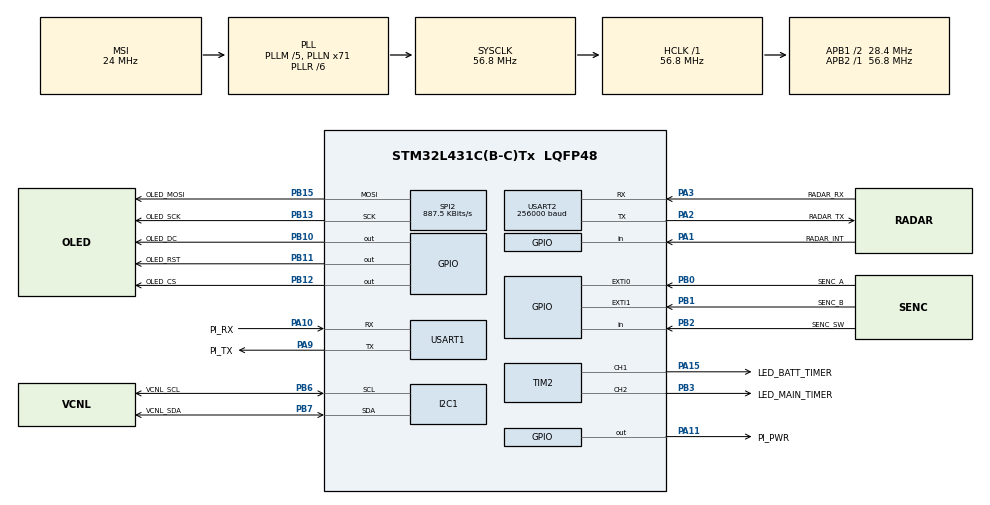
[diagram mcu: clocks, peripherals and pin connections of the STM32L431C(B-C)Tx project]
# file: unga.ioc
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Dma.Request0=TIM2_CH1
Dma.Request1=USART1_RX
Dma.Request2=TIM2_CH2/CH4
Dma.TIM2_CH1.0.Direction=DMA_MEMORY_TO_PERIPH
Dma.TIM2_CH1.0.Instance=DMA1_Channel5
Dma.TIM2_CH1.0.MemDataAlignment=DMA_MDATAALIGN_WORD
Dma.TIM2_CH1.0.MemInc=DMA_MINC_ENABLE
Dma.TIM2_CH1.0.Mode=DMA_CIRCULAR
Dma.TIM2_CH1.0.PeriphDataAlignment=DMA_PDATAALIGN_WORD
Dma.TIM2_CH1.0.PeriphInc=DMA_PINC_DISABLE
Dma.TIM2_CH1.0.Priority=DMA_PRIORITY_HIGH
Dma.TIM2_CH2/CH4.2.Direction=DMA_MEMORY_TO_PERIPH
Dma.TIM2_CH2/CH4.2.Instance=DMA1_Channel7
Dma.TIM2_CH2/CH4.2.MemDataAlignment=DMA_MDATAALIGN_WORD
Dma.TIM2_CH2/CH4.2.MemInc=DMA_MINC_ENABLE
Dma.TIM2_CH2/CH4.2.Mode=DMA_CIRCULAR
Dma.TIM2_CH2/CH4.2.PeriphDataAlignment=DMA_PDATAALIGN_WORD
Dma.TIM2_CH2/CH4.2.PeriphInc=DMA_PINC_DISABLE
Dma.TIM2_CH2/CH4.2.Priority=DMA_PRIORITY_HIGH
Dma.USART1_RX.1.Direction=DMA_PERIPH_TO_MEMORY
Dma.USART1_RX.1.Instance=DMA2_Channel7
Dma.USART1_RX.1.MemDataAlignment=DMA_MDATAALIGN_BYTE
Dma.USART1_RX.1.MemInc=DMA_MINC_ENABLE
Dma.USART1_RX.1.Mode=DMA_CIRCULAR
Dma.USART1_RX.1.PeriphDataAlignment=DMA_PDATAALIGN_BYTE
Dma.USART1_RX.1.PeriphInc=DMA_PINC_DISABLE
Dma.USART1_RX.1.Priority=DMA_PRIORITY_MEDIUM
I2C1.Timing=0x00906E9F
Mcu.Family=STM32L4
Mcu.Name=STM32L431C(B-C)Tx
Mcu.Package=LQFP48
NVIC.DMA1_Channel5_IRQn=true\:0\:0\:false\:false\:true\:false\:true\:true
NVIC.DMA1_Channel7_IRQn=true\:0\:0\:false\:false\:true\:false\:true\:true
NVIC.DMA2_Channel7_IRQn=true\:0\:0\:false\:false\:true\:false\:true\:true
NVIC.EXTI0_IRQn=true\:0\:0\:false\:false\:true\:true\:true\:true
NVIC.EXTI1_IRQn=true\:0\:0\:false\:false\:true\:true\:true\:true
NVIC.PriorityGroup=NVIC_PRIORITYGROUP_4
NVIC.TIM2_IRQn=true\:0\:0\:false\:false\:true\:true\:true\:true
NVIC.USART1_IRQn=true\:0\:0\:false\:false\:true\:true\:true\:true
PA1.GPIO_Label=RADAR_INT
PA1.Signal=GPIO_Input
PA10.GPIO_Label=PI_RX
PA10.Mode=Asynchronous
PA10.Signal=USART1_RX
PA11.GPIO_Label=PI_PWR
PA11.GPIO_ModeDefaultOutputPP=GPIO_MODE_OUTPUT_OD
PA11.GPIO_PuPd=GPIO_NOPULL
PA11.Signal=GPIO_Output
PA15\ (JTDI).GPIO_Label=LED_BATT_TIMER
PA15\ (JTDI).GPIO_Speed=GPIO_SPEED_FREQ_VERY_HIGH
PA15\ (JTDI).Signal=S_TIM2_CH1
PA2.GPIO_Label=RADAR_TX
PA2.Mode=Asynchronous
PA2.Signal=USART2_TX
PA3.GPIO_Label=RADAR_RX
PA3.Mode=Asynchronous
PA3.Signal=USART2_RX
PA9.GPIO_Label=PI_TX
PA9.Mode=Asynchronous
PA9.Signal=USART1_TX
PB0.GPIO_Label=SENC_A
PB0.GPIO_ModeDefaultEXTI=GPIO_MODE_IT_RISING_FALLING
PB0.Signal=GPXTI0
PB1.GPIO_Label=SENC_B
PB1.GPIO_ModeDefaultEXTI=GPIO_MODE_IT_RISING_FALLING
PB1.Signal=GPXTI1
PB10.GPIO_Label=OLED_DC
PB10.Signal=GPIO_Output
PB11.GPIO_Label=OLED_RST
PB11.Signal=GPIO_Output
PB12.GPIO_Label=OLED_CS
PB12.Signal=GPIO_Output
PB13.GPIO_Label=OLED_SCK
PB13.Mode=TX_Only_Simplex_Unidirect_Master
PB13.Signal=SPI2_SCK
PB15.GPIO_Label=OLED_MOSI
PB15.Mode=TX_Only_Simplex_Unidirect_Master
PB15.Signal=SPI2_MOSI
PB2.GPIO_Label=SENC_SW
PB2.Signal=GPIO_Input
PB3\ (JTDO-TRACESWO).GPIO_Label=LED_MAIN_TIMER
PB3\ (JTDO-TRACESWO).GPIO_Speed=GPIO_SPEED_FREQ_VERY_HIGH
PB3\ (JTDO-TRACESWO).Signal=S_TIM2_CH2
PB6.GPIO_Label=VCNL_SCL
PB6.Mode=I2C
PB6.Signal=I2C1_SCL
PB7.GPIO_Label=VCNL_SDA
PB7.Mode=I2C
PB7.Signal=I2C1_SDA
ProjectManager.HeapSize=0x200
ProjectManager.StackSize=0x400
ProjectManager.TargetToolchain=STM32CubeIDE
RCC.ADCFreq_Value=48000000
RCC.AHBFreq_Value=56800000
RCC.APB1CLKDivider=RCC_HCLK_DIV2
RCC.APB1Freq_Value=28400000
RCC.APB1TimFreq_Value=56800000
RCC.APB2Freq_Value=56800000
RCC.APB2TimFreq_Value=56800000
RCC.CortexFreq_Value=56800000
RCC.HCLKFreq_Value=56800000
RCC.HSE_VALUE=8000000
RCC.HSI48_VALUE=48000000
RCC.HSI_VALUE=16000000
RCC.LSE_VALUE=32768
RCC.MSIClockRange=RCC_MSIRANGE_9
RCC.MSI_VALUE=24000000
RCC.PLLM=5
RCC.PLLN=71
RCC.PLLR=RCC_PLLR_DIV6
RCC.PLLSAI1N=20
RCC.SYSCLKFreq_VALUE=56800000
RCC.SYSCLKSource=RCC_SYSCLKSOURCE_PLLCLK
RCC.VCOOutputFreq_Value=340800000
SH.S_TIM2_CH1.0=TIM2_CH1,PWM Generation1 CH1
SH.S_TIM2_CH2.0=TIM2_CH2,PWM Generation2 CH2
SPI2.BaudRatePrescaler=SPI_BAUDRATEPRESCALER_32
SPI2.CalculateBaudRate=887.5 KBits/s
SPI2.DataSize=SPI_DATASIZE_8BIT
SPI2.Direction=SPI_DIRECTION_2LINES
SPI2.Mode=SPI_MODE_MASTER
SPI2.VirtualType=VM_MASTER
TIM1.Period=1000
TIM2.Channel-PWM\ Generation1\ CH1=TIM_CHANNEL_1
TIM2.Channel-PWM\ Generation2\ CH2=TIM_CHANNEL_2
USART1.VirtualMode-Asynchronous=VM_ASYNC
USART2.BaudRate=256000
USART2.VirtualMode-Asynchronous=VM_ASYNC
VP_TIM1_VS_ClockSourceINT.Mode=Internal
VP_TIM2_VS_ClockSourceINT.Mode=Internal
board=custom

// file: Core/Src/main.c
/* USER CODE BEGIN Header */
/**
 ******************************************************************************
 * @file           : main.c
 * @brief          : Main program body
 ******************************************************************************
 * @attention
 *
 * Copyright (c) 2025 STMicroelectronics.
 * All rights reserved.
 *
 * This software is licensed under terms that can be found in the LICENSE file
 * in the root directory of this software component.
 * If no LICENSE file comes with this software, it is provided AS-IS.
 *
 ******************************************************************************
 */
/* USER CODE END Header */
#include "main.h"

/* USER CODE BEGIN Includes */

#include "ARGB.h"
#include "nsp.h"
#include "radar.h"
#include "sh1106.h"
#include "vcnl4040.h"
/* USER CODE END Includes */

I2C_HandleTypeDef hi2c1;

SPI_HandleTypeDef hspi2;

TIM_HandleTypeDef htim1;
TIM_HandleTypeDef htim2;
DMA_HandleTypeDef hdma_tim2_ch1;
DMA_HandleTypeDef hdma_tim2_ch2_ch4;

UART_HandleTypeDef huart1;
UART_HandleTypeDef huart2;
DMA_HandleTypeDef hdma_usart1_rx;

/* USER CODE BEGIN PV */
// uint8_t inbuffer[4];
int actually_light_stuff_up = 1;

/////////////////////////////////////////////////////////////////////////////////////

struct NSPData nsp_data;
struct RadarData radar_data;

/////////////////////////////////////////////////////////////////////////////////////

/* USER CODE END PV */

void SystemClock_Config(void);
static void MX_GPIO_Init(void);
static void MX_DMA_Init(void);
static void MX_TIM1_Init(void);
static void MX_TIM2_Init(void);
static void MX_USART1_UART_Init(void);
static void MX_USART2_UART_Init(void);
static void MX_I2C1_Init(void);
static void MX_SPI2_Init(void);
/* USER CODE BEGIN PFP */

struct FooBar {
  int x;
  int rgb;
};

/* USER CODE END PFP */

/* USER CODE BEGIN 0 */

void update(struct FooBar *fb) {
  fb->x += 1;
  if (fb->x > 255) {
    fb->x = 0;

    fb->rgb = (fb->rgb + 1) % 4;
  }
}

void draw(int x, struct FooBar *fb) {
  if (fb->rgb == 3) {
    if (x < LEDB_NUM_PIXELS)
      LEDB_SetWhite(x, fb->x);
    LEDM_SetWhite(x, fb->x);
  } else {
    if (x < LEDB_NUM_PIXELS)
      LEDB_SetRGB(x, fb->rgb == 0 ? fb->x : 0, fb->rgb == 1 ? fb->x : 0,
                  fb->rgb == 2 ? fb->x : 0);
    LEDM_SetRGB(x, fb->rgb == 0 ? fb->x : 0, fb->rgb == 1 ? fb->x : 0,
                fb->rgb == 2 ? fb->x : 0);
  }
}

void HAL_UARTEx_RxEventCallback(UART_HandleTypeDef *huart,
                                uint16_t cur_write_ptr) {

  if (huart == &huart1) {
    // size is num bytes that have been written into my buffer; caps out at
    // buffer size force a wrap to zero if we hit the edge of the read buffer
    nsp_data.sr.write_ptr =
        cur_write_ptr == nsp_data.sr.buf_size ? 0 : cur_write_ptr;

    // Initiate another read
    sr_recv_to_idle(&nsp_data.sr);
  }

  else if (huart == &huart2) {
    nsp_print(&nsp_data, "Got radar bytes!");
  }
}

/* USER CODE END 0 */

int main(void) {

  /* MCU Configuration--------------------------------------------------------*/

  /* Reset of all peripherals, Initializes the Flash interface and the Systick.
   */
  HAL_Init();

  /* Configure the system clock */
  SystemClock_Config();

  /* Initialize all configured peripherals */
  MX_GPIO_Init();
  MX_DMA_Init();
  MX_TIM1_Init();
  MX_TIM2_Init();
  MX_USART1_UART_Init();
  MX_USART2_UART_Init();
  MX_I2C1_Init();
  MX_SPI2_Init();
  /* USER CODE BEGIN 2 */

  HAL_Delay(500); // not sure about this...
  LEDB_Init();
  LEDM_Init();
  HAL_Delay(500); // not sure about this...
                  //
                  //  uint32_t the_clock = HAL_RCC_GetSysClockFreq();
                  //
                  //
  LEDB_Clear();   // Clear stirp
  while (!LEDB_Show())
    ;

  LEDM_Clear(); // Clear stirp
  while (!LEDM_Show())
    ;

  HAL_Delay(500); // not sure about this..

  //    nsp_start_read(&nsp_data);

  //
  //  LEDB_Clear(); // Clear stirp
  //  while (!LEDB_Show());

  //  LEDB_Clear(); // Clear stirp
  //  while (!LEDB_Show());

  int delay = 50;
  //  int delay_inc = 50;
  //  int delay_dir = 1;

  nsp_init(&nsp_data, &huart1);

  VCNL4040_Init();

  SH1106_Init();

  radar_init(&radar_data, &nsp_data, &huart2);

  //  LEDB_FillRGB(0, 128, 0);
  //  while (!LEDB_Show());

  struct FooBar yeah0 = {0, 0};
  struct FooBar yeah1 = {128, 1};
  struct FooBar yeah2 = {200, 2};
  struct FooBar yeah3 = {64, 3};

  //  uint8_t buffer[4];
  //  buffer[0] = 'A';
  //  buffer[1] = 'B';
  //  buffer[2] = 'C';
  //  buffer[3] = 'D';

  //  HAL_UART_Receive_DMA(&huart1, inbuffer, 4);

  /* USER CODE END 2 */

  /* Infinite loop */
  /* USER CODE BEGIN WHILE */
  uint32_t last_ping_tick = HAL_GetTick();
  uint32_t last_oled_tick = HAL_GetTick();

  int ball_x = 0;

  while (1) {
    delay = 5;
    HAL_Delay(delay);

//    //	  int y = x / scr_period;
//    SH1106_Contrast(yeah0.x);
//    SH1106_Fill(0);

    uint32_t cur_tick = HAL_GetTick();

    if (cur_tick - last_oled_tick > 50) {

    	if (ball_x > 100) ball_x = 0;
    	ball_x += 2;

    	SH1106_Fill(0);
		LCD_Circle(ball_x, 50, 10);
		SH1106_Flush();

		last_oled_tick = cur_tick;
    }

    // Ping every second
    if (cur_tick - last_ping_tick > 1000) {
      //		  nsp_send_ping_packet(&nsp_data);

      //		  nsp_print(&nsp_data, "abcd %d", counter++);

      nsp_send_ping_packet(&nsp_data);

      int lt = VCNL4040_DoLightTest();
      int pt = VCNL4040_DoProxTest();

      nsp_print(&nsp_data, "LT = %4d, PT = %4d", lt, pt);

      //      if (HAL_GPIO_ReadPin(GPIOA, GPIO_PIN_1) == GPIO_PIN_SET) {
      //        // pin is high
      //        nsp_print(&nsp_data, "High");
      //      } else {
      //        // pin is low
      //        nsp_print(&nsp_data, "Low");
      //      }

      last_ping_tick = cur_tick;
    }

    //	  HAL_GPIO_WritePin(GPIOB, GPIO_PIN_5, GPIO_PIN_SET);
    //	  HAL_Delay(delay);
    //	  HAL_GPIO_WritePin(GPIOB, GPIO_PIN_5, GPIO_PIN_RESET);

    nsp_process_rx(&nsp_data);

    update(&yeah0);
    update(&yeah1);
    update(&yeah2);
    update(&yeah3);

    LEDB_Clear();
    LEDM_Clear();

    if (actually_light_stuff_up) {
      draw(0, &yeah0);
      draw(1, &yeah1);
      draw(2, &yeah2);
      draw(3, &yeah3);
      draw(4, &yeah3);
      draw(5, &yeah3);
      draw(6, &yeah3);
      draw(7, &yeah3);
    }
    while (!LEDB_Show())
      ;
    while (!LEDM_Show())
      ;

    //	  	if(rgb == 3)
    //	  		LEDB_SetWhite(0, x);
    //	  	else
    //	  		LEDB_SetRGB(0, rgb==0?x:0, rgb==1?x:0, rgb==2?x:0);

    //	    HAL_Delay(500);	// not sure about this..

    // This works! Huzzah
    // HAL_UART_Transmit(&huart1, buffer, 4, 0xFFFF);

    /* USER CODE END WHILE */

  }
}

void SystemClock_Config(void) {
  RCC_OscInitTypeDef RCC_OscInitStruct = {0};
  RCC_ClkInitTypeDef RCC_ClkInitStruct = {0};

  /** Configure the main internal regulator output voltage
   */
  if (HAL_PWREx_ControlVoltageScaling(PWR_REGULATOR_VOLTAGE_SCALE1) != HAL_OK) {
    Error_Handler();
  }

  /** Initializes the RCC Oscillators according to the specified parameters
   * in the RCC_OscInitTypeDef structure.
   */
  RCC_OscInitStruct.OscillatorType = RCC_OSCILLATORTYPE_MSI;
  RCC_OscInitStruct.MSIState = RCC_MSI_ON;
  RCC_OscInitStruct.MSICalibrationValue = 0;
  RCC_OscInitStruct.MSIClockRange = RCC_MSIRANGE_9;
  RCC_OscInitStruct.PLL.PLLState = RCC_PLL_ON;
  RCC_OscInitStruct.PLL.PLLSource = RCC_PLLSOURCE_MSI;
  RCC_OscInitStruct.PLL.PLLM = 5;
  RCC_OscInitStruct.PLL.PLLN = 71;
  RCC_OscInitStruct.PLL.PLLP = RCC_PLLP_DIV7;
  RCC_OscInitStruct.PLL.PLLQ = RCC_PLLQ_DIV2;
  RCC_OscInitStruct.PLL.PLLR = RCC_PLLR_DIV6;
  if (HAL_RCC_OscConfig(&RCC_OscInitStruct) != HAL_OK) {
    Error_Handler();
  }

  /** Initializes the CPU, AHB and APB buses clocks
   */
  RCC_ClkInitStruct.ClockType = RCC_CLOCKTYPE_HCLK | RCC_CLOCKTYPE_SYSCLK |
                                RCC_CLOCKTYPE_PCLK1 | RCC_CLOCKTYPE_PCLK2;
  RCC_ClkInitStruct.SYSCLKSource = RCC_SYSCLKSOURCE_PLLCLK;
  RCC_ClkInitStruct.AHBCLKDivider = RCC_SYSCLK_DIV1;
  RCC_ClkInitStruct.APB1CLKDivider = RCC_HCLK_DIV2;
  RCC_ClkInitStruct.APB2CLKDivider = RCC_HCLK_DIV1;

  if (HAL_RCC_ClockConfig(&RCC_ClkInitStruct, FLASH_LATENCY_3) != HAL_OK) {
    Error_Handler();
  }
}

static void MX_I2C1_Init(void) {

  hi2c1.Instance = I2C1;
  hi2c1.Init.Timing = 0x00906E9F;
  hi2c1.Init.OwnAddress1 = 0;
  hi2c1.Init.AddressingMode = I2C_ADDRESSINGMODE_7BIT;
  hi2c1.Init.DualAddressMode = I2C_DUALADDRESS_DISABLE;
  hi2c1.Init.OwnAddress2 = 0;
  hi2c1.Init.OwnAddress2Masks = I2C_OA2_NOMASK;
  hi2c1.Init.GeneralCallMode = I2C_GENERALCALL_DISABLE;
  hi2c1.Init.NoStretchMode = I2C_NOSTRETCH_DISABLE;
  if (HAL_I2C_Init(&hi2c1) != HAL_OK) {
    Error_Handler();
  }

  /** Configure Analogue filter
   */
  if (HAL_I2CEx_ConfigAnalogFilter(&hi2c1, I2C_ANALOGFILTER_ENABLE) != HAL_OK) {
    Error_Handler();
  }

  /** Configure Digital filter
   */
  if (HAL_I2CEx_ConfigDigitalFilter(&hi2c1, 0) != HAL_OK) {
    Error_Handler();
  }
}

static void MX_SPI2_Init(void) {

  /* SPI2 parameter configuration*/
  hspi2.Instance = SPI2;
  hspi2.Init.Mode = SPI_MODE_MASTER;
  hspi2.Init.Direction = SPI_DIRECTION_2LINES;
  hspi2.Init.DataSize = SPI_DATASIZE_8BIT;
  hspi2.Init.CLKPolarity = SPI_POLARITY_LOW;
  hspi2.Init.CLKPhase = SPI_PHASE_1EDGE;
  hspi2.Init.NSS = SPI_NSS_SOFT;
  hspi2.Init.BaudRatePrescaler = SPI_BAUDRATEPRESCALER_32;
  hspi2.Init.FirstBit = SPI_FIRSTBIT_MSB;
  hspi2.Init.TIMode = SPI_TIMODE_DISABLE;
  hspi2.Init.CRCCalculation = SPI_CRCCALCULATION_DISABLE;
  hspi2.Init.CRCPolynomial = 7;
  hspi2.Init.CRCLength = SPI_CRC_LENGTH_DATASIZE;
  hspi2.Init.NSSPMode = SPI_NSS_PULSE_ENABLE;
  if (HAL_SPI_Init(&hspi2) != HAL_OK) {
    Error_Handler();
  }
}

static void MX_TIM1_Init(void) {

  TIM_ClockConfigTypeDef sClockSourceConfig = {0};
  TIM_MasterConfigTypeDef sMasterConfig = {0};

  htim1.Instance = TIM1;
  htim1.Init.Prescaler = 0;
  htim1.Init.CounterMode = TIM_COUNTERMODE_UP;
  htim1.Init.Period = 1000;
  htim1.Init.ClockDivision = TIM_CLOCKDIVISION_DIV1;
  htim1.Init.RepetitionCounter = 0;
  htim1.Init.AutoReloadPreload = TIM_AUTORELOAD_PRELOAD_DISABLE;
  if (HAL_TIM_Base_Init(&htim1) != HAL_OK) {
    Error_Handler();
  }
  sClockSourceConfig.ClockSource = TIM_CLOCKSOURCE_INTERNAL;
  if (HAL_TIM_ConfigClockSource(&htim1, &sClockSourceConfig) != HAL_OK) {
    Error_Handler();
  }
  sMasterConfig.MasterOutputTrigger = TIM_TRGO_RESET;
  sMasterConfig.MasterOutputTrigger2 = TIM_TRGO2_RESET;
  sMasterConfig.MasterSlaveMode = TIM_MASTERSLAVEMODE_DISABLE;
  if (HAL_TIMEx_MasterConfigSynchronization(&htim1, &sMasterConfig) != HAL_OK) {
    Error_Handler();
  }
}

static void MX_TIM2_Init(void) {

  TIM_ClockConfigTypeDef sClockSourceConfig = {0};
  TIM_MasterConfigTypeDef sMasterConfig = {0};
  TIM_OC_InitTypeDef sConfigOC = {0};

  htim2.Instance = TIM2;
  htim2.Init.Prescaler = 0;
  htim2.Init.CounterMode = TIM_COUNTERMODE_UP;
  htim2.Init.Period = 4294967295;
  htim2.Init.ClockDivision = TIM_CLOCKDIVISION_DIV1;
  htim2.Init.AutoReloadPreload = TIM_AUTORELOAD_PRELOAD_DISABLE;
  if (HAL_TIM_Base_Init(&htim2) != HAL_OK) {
    Error_Handler();
  }
  sClockSourceConfig.ClockSource = TIM_CLOCKSOURCE_INTERNAL;
  if (HAL_TIM_ConfigClockSource(&htim2, &sClockSourceConfig) != HAL_OK) {
    Error_Handler();
  }
  if (HAL_TIM_PWM_Init(&htim2) != HAL_OK) {
    Error_Handler();
  }
  sMasterConfig.MasterOutputTrigger = TIM_TRGO_RESET;
  sMasterConfig.MasterSlaveMode = TIM_MASTERSLAVEMODE_DISABLE;
  if (HAL_TIMEx_MasterConfigSynchronization(&htim2, &sMasterConfig) != HAL_OK) {
    Error_Handler();
  }
  sConfigOC.OCMode = TIM_OCMODE_PWM1;
  sConfigOC.Pulse = 0;
  sConfigOC.OCPolarity = TIM_OCPOLARITY_HIGH;
  sConfigOC.OCFastMode = TIM_OCFAST_DISABLE;
  if (HAL_TIM_PWM_ConfigChannel(&htim2, &sConfigOC, TIM_CHANNEL_1) != HAL_OK) {
    Error_Handler();
  }
  if (HAL_TIM_PWM_ConfigChannel(&htim2, &sConfigOC, TIM_CHANNEL_2) != HAL_OK) {
    Error_Handler();
  }
  HAL_TIM_MspPostInit(&htim2);
}

static void MX_USART1_UART_Init(void) {

  huart1.Instance = USART1;
  huart1.Init.BaudRate = 115200;
  huart1.Init.WordLength = UART_WORDLENGTH_8B;
  huart1.Init.StopBits = UART_STOPBITS_1;
  huart1.Init.Parity = UART_PARITY_NONE;
  huart1.Init.Mode = UART_MODE_TX_RX;
  huart1.Init.HwFlowCtl = UART_HWCONTROL_NONE;
  huart1.Init.OverSampling = UART_OVERSAMPLING_16;
  huart1.Init.OneBitSampling = UART_ONE_BIT_SAMPLE_DISABLE;
  huart1.AdvancedInit.AdvFeatureInit = UART_ADVFEATURE_NO_INIT;
  if (HAL_UART_Init(&huart1) != HAL_OK) {
    Error_Handler();
  }
}

static void MX_USART2_UART_Init(void) {

  huart2.Instance = USART2;
  huart2.Init.BaudRate = 256000;
  huart2.Init.WordLength = UART_WORDLENGTH_8B;
  huart2.Init.StopBits = UART_STOPBITS_1;
  huart2.Init.Parity = UART_PARITY_NONE;
  huart2.Init.Mode = UART_MODE_TX_RX;
  huart2.Init.HwFlowCtl = UART_HWCONTROL_NONE;
  huart2.Init.OverSampling = UART_OVERSAMPLING_16;
  huart2.Init.OneBitSampling = UART_ONE_BIT_SAMPLE_DISABLE;
  huart2.AdvancedInit.AdvFeatureInit = UART_ADVFEATURE_NO_INIT;
  if (HAL_UART_Init(&huart2) != HAL_OK) {
    Error_Handler();
  }
}

static void MX_DMA_Init(void) {

  /* DMA controller clock enable */
  __HAL_RCC_DMA1_CLK_ENABLE();
  __HAL_RCC_DMA2_CLK_ENABLE();

  /* DMA interrupt init */
  /* DMA1_Channel5_IRQn interrupt configuration */
  HAL_NVIC_SetPriority(DMA1_Channel5_IRQn, 0, 0);
  HAL_NVIC_EnableIRQ(DMA1_Channel5_IRQn);
  /* DMA1_Channel7_IRQn interrupt configuration */
  HAL_NVIC_SetPriority(DMA1_Channel7_IRQn, 0, 0);
  HAL_NVIC_EnableIRQ(DMA1_Channel7_IRQn);
  /* DMA2_Channel7_IRQn interrupt configuration */
  HAL_NVIC_SetPriority(DMA2_Channel7_IRQn, 0, 0);
  HAL_NVIC_EnableIRQ(DMA2_Channel7_IRQn);
}

static void MX_GPIO_Init(void) {
  GPIO_InitTypeDef GPIO_InitStruct = {0};

  /* GPIO Ports Clock Enable */
  __HAL_RCC_GPIOA_CLK_ENABLE();
  __HAL_RCC_GPIOB_CLK_ENABLE();

  /*Configure GPIO pin Output Level */
  HAL_GPIO_WritePin(GPIOB, OLED_DC_Pin | OLED_RST_Pin | OLED_CS_Pin,
                    GPIO_PIN_RESET);

  /*Configure GPIO pin Output Level */
  HAL_GPIO_WritePin(PI_PWR_GPIO_Port, PI_PWR_Pin, GPIO_PIN_RESET);

  /*Configure GPIO pin : RADAR_INT_Pin */
  GPIO_InitStruct.Pin = RADAR_INT_Pin;
  GPIO_InitStruct.Mode = GPIO_MODE_INPUT;
  GPIO_InitStruct.Pull = GPIO_NOPULL;
  HAL_GPIO_Init(RADAR_INT_GPIO_Port, &GPIO_InitStruct);

  /*Configure GPIO pins : SENC_A_Pin SENC_B_Pin */
  GPIO_InitStruct.Pin = SENC_A_Pin | SENC_B_Pin;
  GPIO_InitStruct.Mode = GPIO_MODE_IT_RISING_FALLING;
  GPIO_InitStruct.Pull = GPIO_NOPULL;
  HAL_GPIO_Init(GPIOB, &GPIO_InitStruct);

  /*Configure GPIO pin : SENC_SW_Pin */
  GPIO_InitStruct.Pin = SENC_SW_Pin;
  GPIO_InitStruct.Mode = GPIO_MODE_INPUT;
  GPIO_InitStruct.Pull = GPIO_NOPULL;
  HAL_GPIO_Init(SENC_SW_GPIO_Port, &GPIO_InitStruct);

  /*Configure GPIO pins : OLED_DC_Pin OLED_RST_Pin OLED_CS_Pin */
  GPIO_InitStruct.Pin = OLED_DC_Pin | OLED_RST_Pin | OLED_CS_Pin;
  GPIO_InitStruct.Mode = GPIO_MODE_OUTPUT_PP;
  GPIO_InitStruct.Pull = GPIO_NOPULL;
  GPIO_InitStruct.Speed = GPIO_SPEED_FREQ_LOW;
  HAL_GPIO_Init(GPIOB, &GPIO_InitStruct);

  /*Configure GPIO pin : PI_PWR_Pin */
  GPIO_InitStruct.Pin = PI_PWR_Pin;
  GPIO_InitStruct.Mode = GPIO_MODE_OUTPUT_OD;
  GPIO_InitStruct.Pull = GPIO_NOPULL;
  GPIO_InitStruct.Speed = GPIO_SPEED_FREQ_LOW;
  HAL_GPIO_Init(PI_PWR_GPIO_Port, &GPIO_InitStruct);

  /* EXTI interrupt init*/
  HAL_NVIC_SetPriority(EXTI0_IRQn, 0, 0);
  HAL_NVIC_EnableIRQ(EXTI0_IRQn);

  HAL_NVIC_SetPriority(EXTI1_IRQn, 0, 0);
  HAL_NVIC_EnableIRQ(EXTI1_IRQn);

}

/* USER CODE BEGIN 4 */

// global/static
volatile int encoder_count = 0;
static uint8_t last_state = 0;

void HAL_GPIO_EXTI_Callback(uint16_t GPIO_Pin) {
  if (GPIO_Pin == SENC_A_Pin || GPIO_Pin == SENC_B_Pin) {
    // Read current 2-bit state
    uint8_t a = HAL_GPIO_ReadPin(SENC_A_GPIO_Port, SENC_A_Pin);
    uint8_t b = HAL_GPIO_ReadPin(SENC_B_GPIO_Port, SENC_B_Pin);
    uint8_t state = (a << 1) | b;

    // Combine last + current into 4-bit index
    uint8_t index = (last_state << 2) | state;

    // Lookup table: +1 for CW, -1 for CCW, 0 for invalid/no move
    static const int8_t table[16] = {0,  -1, +1, 0,  +1, 0,  0,  -1,
                                     -1, 0,  0,  +1, 0,  +1, -1, 0};

    encoder_count += table[index];
    nsp_print(&nsp_data, "a=%d, b=%d, last=%d, index=%d, encoder=%d", a, b,
              last_state, index, encoder_count);

    //    if (table[index] > 0) {
    //      nsp_send_volume_up(&nsp_data);
    //    }
    //
    //    else if (table[index] < 0) {
    //      nsp_send_volume_down(&nsp_data);
    //    }

    last_state = state;
  }
}

/* USER CODE END 4 */

void Error_Handler(void) {
  __disable_irq();
  while (1) {
  }
}
#ifdef USE_FULL_ASSERT
/**
 * @brief  Reports the name of the source file and the source line number
 *         where the assert_param error has occurred.
 * @param  file: pointer to the source file name
 * @param  line: assert_param error line source number
 * @retval None
 */
void assert_failed(uint8_t *file, uint32_t line) {
  /* USER CODE BEGIN 6 */
  /* User can add his own implementation to report the file name and line
     number, ex: printf("Wrong parameters value: file %s on line %d\r\n", file,
     line) */
  /* USER CODE END 6 */
}
#endif /* USE_FULL_ASSERT */
